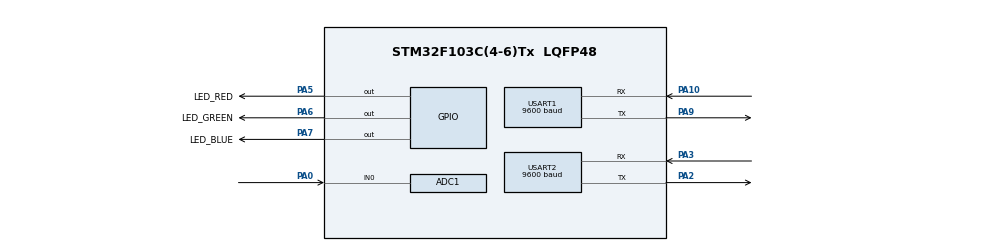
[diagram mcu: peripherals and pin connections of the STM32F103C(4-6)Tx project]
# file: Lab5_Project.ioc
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ADC1.Channel-0\#ChannelRegularConversion=ADC_CHANNEL_0
ADC1.ContinuousConvMode=ENABLE
ADC1.NbrOfConversionFlag=1
ADC1.Rank-0\#ChannelRegularConversion=1
ADC1.SamplingTime-0\#ChannelRegularConversion=ADC_SAMPLETIME_1CYCLE_5
ADC1.master=1
Mcu.Family=STM32F1
Mcu.Name=STM32F103C(4-6)Tx
Mcu.Package=LQFP48
NVIC.PriorityGroup=NVIC_PRIORITYGROUP_4
NVIC.TIM2_IRQn=true\:0\:0\:false\:false\:true\:true\:true
NVIC.USART1_IRQn=true\:0\:0\:false\:false\:true\:true\:true
NVIC.USART2_IRQn=true\:0\:0\:false\:false\:true\:true\:true
PA0-WKUP.Signal=ADCx_IN0
PA10.Mode=Asynchronous
PA10.Signal=USART1_RX
PA2.Mode=Asynchronous
PA2.Signal=USART2_TX
PA3.Mode=Asynchronous
PA3.Signal=USART2_RX
PA5.GPIO_Label=LED_RED
PA5.Signal=GPIO_Output
PA6.GPIO_Label=LED_GREEN
PA6.Signal=GPIO_Output
PA7.GPIO_Label=LED_BLUE
PA7.Signal=GPIO_Output
PA9.Mode=Asynchronous
PA9.Signal=USART1_TX
ProjectManager.HeapSize=0x200
ProjectManager.StackSize=0x400
ProjectManager.TargetToolchain=STM32CubeIDE
RCC.APB1Freq_Value=8000000
RCC.APB2Freq_Value=8000000
SH.ADCx_IN0.0=ADC1_IN0,IN0
TIM2.Period=9
TIM2.Prescaler=7999
USART1.BaudRate=9600
USART1.VirtualMode=VM_ASYNC
USART2.BaudRate=9600
USART2.VirtualMode=VM_ASYNC
VP_SYS_VS_ND.Mode=No_Debug
VP_TIM2_VS_ClockSourceINT.Mode=Internal
board=custom

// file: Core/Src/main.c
/* USER CODE BEGIN Header */
/**
  ******************************************************************************
  * @file           : main.c
  * @brief          : Main program body
  ******************************************************************************
  * @attention
  *
  * <h2><center>&copy; Copyright (c) 2024 STMicroelectronics.
  * All rights reserved.</center></h2>
  *
  * This software component is licensed by ST under BSD 3-Clause license,
  * the "License"; You may not use this file except in compliance with the
  * License. You may obtain a copy of the License at:
  *                        opensource.org/licenses/BSD-3-Clause
  *
  ******************************************************************************
  */
/* USER CODE END Header */
#include "main.h"

/* USER CODE BEGIN Includes */
#include <stdio.h>
#include "Lab5_FSM.h"
#include <string.h>

/* USER CODE END Includes */

ADC_HandleTypeDef hadc1;

TIM_HandleTypeDef htim2;

UART_HandleTypeDef huart1;
UART_HandleTypeDef huart2;

void SystemClock_Config(void);
static void MX_GPIO_Init(void);
static void MX_ADC1_Init(void);
static void MX_USART2_UART_Init(void);
static void MX_USART1_UART_Init(void);
static void MX_TIM2_Init(void);

/* USER CODE BEGIN 0 */

void HAL_UART_RxCpltCallback ( UART_HandleTypeDef * huart ){
	if(huart->Instance == USART2){
		receive_flag = 1;
		//HAL_UART_Transmit (& huart1 , & temp1 , 1 , 50) ;
		//HAL_UART_Receive_IT (& huart2 , & temp1 , 1) ;

	}
}

void Receive_IT(char* pData,int id){
	switch(id){
	case 1:
		HAL_UART_Receive_IT(&huart1, (uint8_t*)pData, 1);
		break;
	case 2:
		HAL_UART_Receive_IT(&huart2, (uint8_t*)pData, 1);
		break;
	default:
		break;
	}
}

void Transmit(char* pData,int id){
	switch(id){
	case 1:
		HAL_UART_Transmit(&huart1, (uint8_t*)pData, strlen(pData), HAL_MAX_DELAY);
		break;
	case 2:
		HAL_UART_Transmit(&huart2, (uint8_t*)pData, strlen(pData), HAL_MAX_DELAY);
		break;
	default:
		break;
	}
}
/* USER CODE END 0 */

int main(void)
{

  /* MCU Configuration--------------------------------------------------------*/

  /* Reset of all peripherals, Initializes the Flash interface and the Systick. */
  HAL_Init();

  /* Configure the system clock */
  SystemClock_Config();

  /* Initialize all configured peripherals */
  MX_GPIO_Init();
  MX_ADC1_Init();
  MX_USART2_UART_Init();
  MX_USART1_UART_Init();
  MX_TIM2_Init();
  /* USER CODE BEGIN 2 */
  HAL_TIM_Base_Start_IT(&htim2);
  fsm_init();
  //uint32_t ADC_value = 0;
  /* USER CODE END 2 */

  /* Infinite loop */
  /* USER CODE BEGIN WHILE */
  while (1)
  {
	  receive_data();
	  CommandParser_fsm();
	  UartCommunication_fsm();
    /* USER CODE END WHILE */

  }
}

void SystemClock_Config(void)
{
  RCC_OscInitTypeDef RCC_OscInitStruct = {0};
  RCC_ClkInitTypeDef RCC_ClkInitStruct = {0};
  RCC_PeriphCLKInitTypeDef PeriphClkInit = {0};

  /** Initializes the RCC Oscillators according to the specified parameters
  * in the RCC_OscInitTypeDef structure.
  */
  RCC_OscInitStruct.OscillatorType = RCC_OSCILLATORTYPE_HSI;
  RCC_OscInitStruct.HSIState = RCC_HSI_ON;
  RCC_OscInitStruct.HSICalibrationValue = RCC_HSICALIBRATION_DEFAULT;
  RCC_OscInitStruct.PLL.PLLState = RCC_PLL_NONE;
  if (HAL_RCC_OscConfig(&RCC_OscInitStruct) != HAL_OK)
  {
    Error_Handler();
  }
  /** Initializes the CPU, AHB and APB buses clocks
  */
  RCC_ClkInitStruct.ClockType = RCC_CLOCKTYPE_HCLK|RCC_CLOCKTYPE_SYSCLK
                              |RCC_CLOCKTYPE_PCLK1|RCC_CLOCKTYPE_PCLK2;
  RCC_ClkInitStruct.SYSCLKSource = RCC_SYSCLKSOURCE_HSI;
  RCC_ClkInitStruct.AHBCLKDivider = RCC_SYSCLK_DIV1;
  RCC_ClkInitStruct.APB1CLKDivider = RCC_HCLK_DIV1;
  RCC_ClkInitStruct.APB2CLKDivider = RCC_HCLK_DIV1;

  if (HAL_RCC_ClockConfig(&RCC_ClkInitStruct, FLASH_LATENCY_0) != HAL_OK)
  {
    Error_Handler();
  }
  PeriphClkInit.PeriphClockSelection = RCC_PERIPHCLK_ADC;
  PeriphClkInit.AdcClockSelection = RCC_ADCPCLK2_DIV2;
  if (HAL_RCCEx_PeriphCLKConfig(&PeriphClkInit) != HAL_OK)
  {
    Error_Handler();
  }
}

static void MX_ADC1_Init(void)
{

  ADC_ChannelConfTypeDef sConfig = {0};

  /** Common config
  */
  hadc1.Instance = ADC1;
  hadc1.Init.ScanConvMode = ADC_SCAN_DISABLE;
  hadc1.Init.ContinuousConvMode = ENABLE;
  hadc1.Init.DiscontinuousConvMode = DISABLE;
  hadc1.Init.ExternalTrigConv = ADC_SOFTWARE_START;
  hadc1.Init.DataAlign = ADC_DATAALIGN_RIGHT;
  hadc1.Init.NbrOfConversion = 1;
  if (HAL_ADC_Init(&hadc1) != HAL_OK)
  {
    Error_Handler();
  }
  /** Configure Regular Channel
  */
  sConfig.Channel = ADC_CHANNEL_0;
  sConfig.Rank = ADC_REGULAR_RANK_1;
  sConfig.SamplingTime = ADC_SAMPLETIME_1CYCLE_5;
  if (HAL_ADC_ConfigChannel(&hadc1, &sConfig) != HAL_OK)
  {
    Error_Handler();
  }

}

static void MX_TIM2_Init(void)
{

  TIM_ClockConfigTypeDef sClockSourceConfig = {0};
  TIM_MasterConfigTypeDef sMasterConfig = {0};

  htim2.Instance = TIM2;
  htim2.Init.Prescaler = 7999;
  htim2.Init.CounterMode = TIM_COUNTERMODE_UP;
  htim2.Init.Period = 9;
  htim2.Init.ClockDivision = TIM_CLOCKDIVISION_DIV1;
  htim2.Init.AutoReloadPreload = TIM_AUTORELOAD_PRELOAD_DISABLE;
  if (HAL_TIM_Base_Init(&htim2) != HAL_OK)
  {
    Error_Handler();
  }
  sClockSourceConfig.ClockSource = TIM_CLOCKSOURCE_INTERNAL;
  if (HAL_TIM_ConfigClockSource(&htim2, &sClockSourceConfig) != HAL_OK)
  {
    Error_Handler();
  }
  sMasterConfig.MasterOutputTrigger = TIM_TRGO_RESET;
  sMasterConfig.MasterSlaveMode = TIM_MASTERSLAVEMODE_DISABLE;
  if (HAL_TIMEx_MasterConfigSynchronization(&htim2, &sMasterConfig) != HAL_OK)
  {
    Error_Handler();
  }

}

static void MX_USART1_UART_Init(void)
{

  huart1.Instance = USART1;
  huart1.Init.BaudRate = 9600;
  huart1.Init.WordLength = UART_WORDLENGTH_8B;
  huart1.Init.StopBits = UART_STOPBITS_1;
  huart1.Init.Parity = UART_PARITY_NONE;
  huart1.Init.Mode = UART_MODE_TX_RX;
  huart1.Init.HwFlowCtl = UART_HWCONTROL_NONE;
  huart1.Init.OverSampling = UART_OVERSAMPLING_16;
  if (HAL_UART_Init(&huart1) != HAL_OK)
  {
    Error_Handler();
  }

}

static void MX_USART2_UART_Init(void)
{

  huart2.Instance = USART2;
  huart2.Init.BaudRate = 9600;
  huart2.Init.WordLength = UART_WORDLENGTH_8B;
  huart2.Init.StopBits = UART_STOPBITS_1;
  huart2.Init.Parity = UART_PARITY_NONE;
  huart2.Init.Mode = UART_MODE_TX_RX;
  huart2.Init.HwFlowCtl = UART_HWCONTROL_NONE;
  huart2.Init.OverSampling = UART_OVERSAMPLING_16;
  if (HAL_UART_Init(&huart2) != HAL_OK)
  {
    Error_Handler();
  }

}

static void MX_GPIO_Init(void)
{
  GPIO_InitTypeDef GPIO_InitStruct = {0};

  /* GPIO Ports Clock Enable */
  __HAL_RCC_GPIOA_CLK_ENABLE();

  /*Configure GPIO pin Output Level */
  HAL_GPIO_WritePin(GPIOA, LED_RED_Pin|LED_GREEN_Pin|LED_BLUE_Pin, GPIO_PIN_RESET);

  /*Configure GPIO pins : LED_RED_Pin LED_GREEN_Pin LED_BLUE_Pin */
  GPIO_InitStruct.Pin = LED_RED_Pin|LED_GREEN_Pin|LED_BLUE_Pin;
  GPIO_InitStruct.Mode = GPIO_MODE_OUTPUT_PP;
  GPIO_InitStruct.Pull = GPIO_NOPULL;
  GPIO_InitStruct.Speed = GPIO_SPEED_FREQ_LOW;
  HAL_GPIO_Init(GPIOA, &GPIO_InitStruct);

}

/* USER CODE BEGIN 4 */
void HAL_TIM_PeriodElapsedCallback(TIM_HandleTypeDef *htim){
	timerRun();

}
/* USER CODE END 4 */

void Error_Handler(void)
{
  __disable_irq();
  while (1)
  {
  }
}

/************************ (C) COPYRIGHT STMicroelectronics *****END OF FILE****/
